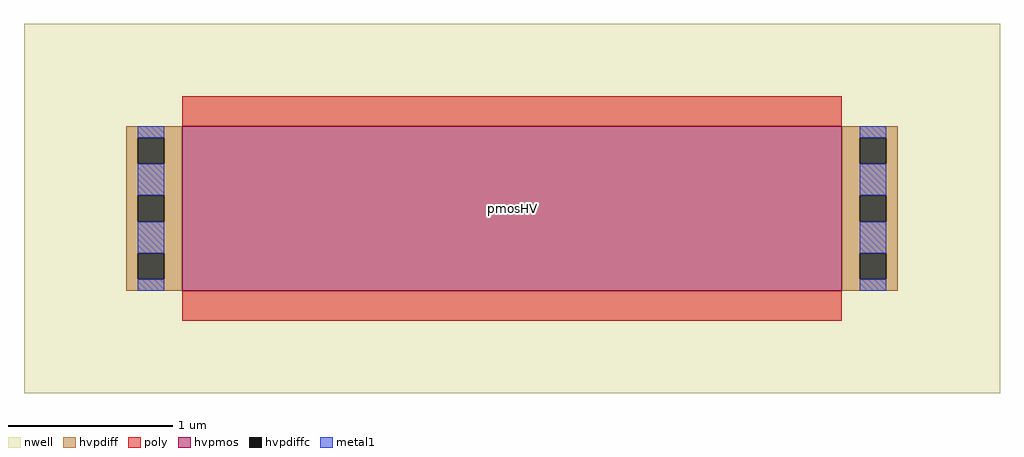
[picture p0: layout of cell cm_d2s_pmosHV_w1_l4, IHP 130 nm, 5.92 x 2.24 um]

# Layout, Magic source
magic
tech ihp-sg13cmos5l
<< nwell >>
rect -62 -62 530 162
<< hvpmos >>
rect 34 0 434 100
<< hvpdiff >>
rect 0 93 34 100
rect 0 77 7 93
rect 23 77 34 93
rect 0 58 34 77
rect 0 42 7 58
rect 23 42 34 58
rect 0 23 34 42
rect 0 7 7 23
rect 23 7 34 23
rect 0 0 34 7
rect 434 93 468 100
rect 434 77 445 93
rect 461 77 468 93
rect 434 58 468 77
rect 434 42 445 58
rect 461 42 468 58
rect 434 23 468 42
rect 434 7 445 23
rect 461 7 468 23
rect 434 0 468 7
<< hvpdiffc >>
rect 7 77 23 93
rect 7 42 23 58
rect 7 7 23 23
rect 445 77 461 93
rect 445 42 461 58
rect 445 7 461 23
<< poly >>
rect 34 100 434 118
rect 34 -18 434 0
<< metal1 >>
rect 7 93 23 100
rect 7 58 23 77
rect 7 23 23 42
rect 7 0 23 7
rect 445 93 461 100
rect 445 58 461 77
rect 445 23 461 42
rect 445 0 461 7
<< labels >>
flabel comment s 234 50 234 50 0 FreeSans 100 90 0 0 pmosHV
<< properties >>
string GDS_END 19624
string GDS_FILE custom_io/gds/sg13cmos5l_IOPadDiff2Single.uniq.gds
string GDS_START 18262
<< end >>
